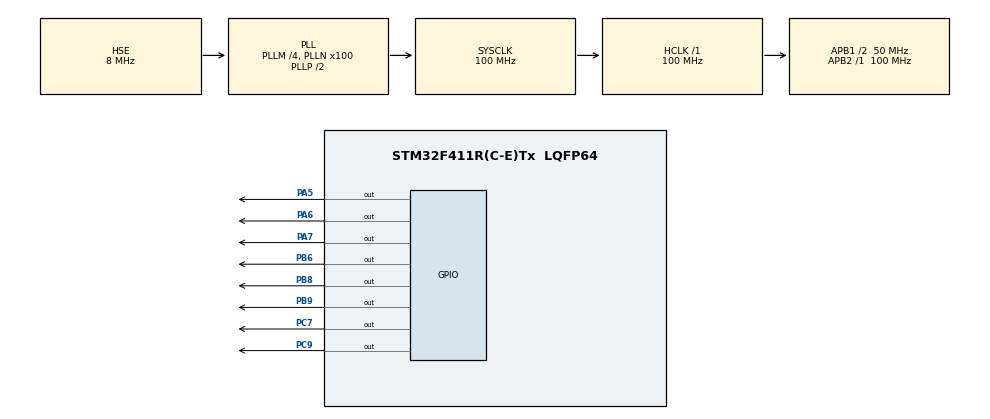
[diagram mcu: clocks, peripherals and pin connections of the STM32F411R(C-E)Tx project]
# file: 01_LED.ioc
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Mcu.Family=STM32F4
Mcu.Name=STM32F411R(C-E)Tx
Mcu.Package=LQFP64
NVIC.PriorityGroup=NVIC_PRIORITYGROUP_4
PA13.Mode=Serial_Wire
PA13.Signal=SYS_JTMS-SWDIO
PA14.Mode=Serial_Wire
PA14.Signal=SYS_JTCK-SWCLK
PA5.Signal=GPIO_Output
PA6.Signal=GPIO_Output
PA7.Signal=GPIO_Output
PB6.Signal=GPIO_Output
PB8.Signal=GPIO_Output
PB9.Signal=GPIO_Output
PC7.Signal=GPIO_Output
PC9.Signal=GPIO_Output
PH0\ -\ OSC_IN.Mode=HSE-External-Oscillator
PH0\ -\ OSC_IN.Signal=RCC_OSC_IN
PH1\ -\ OSC_OUT.Mode=HSE-External-Oscillator
PH1\ -\ OSC_OUT.Signal=RCC_OSC_OUT
ProjectManager.HeapSize=0x200
ProjectManager.StackSize=0x400
ProjectManager.TargetToolchain=STM32CubeIDE
RCC.48MHZClocksFreq_Value=50000000
RCC.AHBFreq_Value=100000000
RCC.APB1CLKDivider=RCC_HCLK_DIV2
RCC.APB1Freq_Value=50000000
RCC.APB1TimFreq_Value=100000000
RCC.APB2Freq_Value=100000000
RCC.APB2TimFreq_Value=100000000
RCC.CortexFreq_Value=100000000
RCC.HCLKFreq_Value=100000000
RCC.HSE_VALUE=8000000
RCC.HSI_VALUE=16000000
RCC.LSE_VALUE=32768
RCC.PLLM=4
RCC.PLLN=100
RCC.PLLSourceVirtual=RCC_PLLSOURCE_HSE
RCC.SYSCLKFreq_VALUE=100000000
RCC.SYSCLKSource=RCC_SYSCLKSOURCE_PLLCLK
RCC.VCOOutputFreq_Value=200000000
board=custom

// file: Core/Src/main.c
/* USER CODE BEGIN Header */
/**
  ******************************************************************************
  * @file           : main.c
  * @brief          : Main program body
  ******************************************************************************
  * @attention
  *
  * Copyright (c) 2025 STMicroelectronics.
  * All rights reserved.
  *
  * This software is licensed under terms that can be found in the LICENSE file
  * in the root directory of this software component.
  * If no LICENSE file comes with this software, it is provided AS-IS.
  *
  ******************************************************************************
  */
/* USER CODE END Header */
#include "main.h"
#include "gpio.h"

/* USER CODE BEGIN PTD */
typedef enum
{
  LED_OFF,  // 0
  LED_ON   // 1
}LED_STATE;

typedef struct
{
  GPIO_TypeDef *port;
  uint16_t      pinNumber;
  uint32_t      interval;
  LED_STATE     state;
  uint32_t      lastTick;
}LED_CONTROL;

void updateLed(LED_CONTROL *led)
{
  uint32_t currenTick = HAL_GetTick();    // 현재의 시간 (틱) 가져옴

  if(currenTick - led->lastTick >= led->interval)
  {
    led->lastTick = currenTick;

    if(led->state == LED_OFF)
    {
    HAL_GPIO_WritePin(led->port, led->pinNumber, 1);
    led->state = LED_ON;
    }
    else
    {
    HAL_GPIO_WritePin(led->port, led->pinNumber, 0);
    led->state = LED_OFF;
    }
  }
}

/* USER CODE END PTD */

void SystemClock_Config(void);

int main(void)
{

  /* MCU Configuration--------------------------------------------------------*/

  /* Reset of all peripherals, Initializes the Flash interface and the Systick. */
  HAL_Init();

  /* Configure the system clock */
  SystemClock_Config();

  /* Initialize all configured peripherals */
  MX_GPIO_Init();
  /* USER CODE BEGIN 2 */

  LED_CONTROL led1 = {GPIOC, GPIO_PIN_9, 200, LED_OFF, 0};
  LED_CONTROL led2 = {GPIOB, GPIO_PIN_8, 1000, LED_OFF, 0};
//  GPIO_TypeDef* ports[] = {GPIOA, GPIOA, GPIOA, GPIOC, GPIOC, GPIOB, GPIOB, GPIOB};
//  uint16_t pins[] = {GPIO_PIN_5, GPIO_PIN_6, GPIO_PIN_7, GPIO_PIN_7, GPIO_PIN_9, GPIO_PIN_6, GPIO_PIN_8, GPIO_PIN_9};
  /* USER CODE END 2 */

  /* Infinite loop */
  /* USER CODE BEGIN WHILE */
  while (1)
  {
    updateLed(&led1);
    updateLed(&led2);
//    HAL_GPIO_WritePin(GPIOA, GPIO_PIN_5, 1);
//    HAL_GPIO_WritePin(GPIOA, GPIO_PIN_6, 1);
//    HAL_GPIO_WritePin(GPIOA, GPIO_PIN_7, 1);
//    HAL_GPIO_WritePin(GPIOC, GPIO_PIN_7, 1);
//    HAL_GPIO_WritePin(GPIOC, GPIO_PIN_9, 1);
//    HAL_GPIO_WritePin(GPIOB, GPIO_PIN_6, 1);
//    HAL_GPIO_WritePin(GPIOB, GPIO_PIN_8, 1);
//    HAL_GPIO_WritePin(GPIOB, GPIO_PIN_9, 1);
//    HAL_Delay(300);
//
//    HAL_GPIO_WritePin(GPIOA, GPIO_PIN_5, GPIO_PIN_RESET);
//    HAL_GPIO_WritePin(GPIOA, GPIO_PIN_6, GPIO_PIN_RESET);
//    HAL_GPIO_WritePin(GPIOA, GPIO_PIN_7, GPIO_PIN_RESET);
//    HAL_GPIO_WritePin(GPIOC, GPIO_PIN_7, GPIO_PIN_RESET);
//    HAL_GPIO_WritePin(GPIOC, GPIO_PIN_9, GPIO_PIN_RESET);
//    HAL_GPIO_WritePin(GPIOB, GPIO_PIN_6, GPIO_PIN_RESET);
//    HAL_GPIO_WritePin(GPIOB, GPIO_PIN_8, GPIO_PIN_RESET);
//    HAL_GPIO_WritePin(GPIOB, GPIO_PIN_9, GPIO_PIN_RESET);
//    HAL_Delay(300);

    //LED ON
//    for (int i = 0; i < 8; i++) {
//      HAL_GPIO_WritePin(ports[i], pins[i], 1);
//      HAL_Delay(300);
//
//    }
//
//    //LED OFF
//    for (int i = 0; i < 8; i++) {
//      HAL_GPIO_WritePin(ports[i], pins[i], 0);
//      HAL_Delay(300);
//
//    }
    /* USER CODE END WHILE */

  }
}

void SystemClock_Config(void)
{
  RCC_OscInitTypeDef RCC_OscInitStruct = {0};
  RCC_ClkInitTypeDef RCC_ClkInitStruct = {0};

  /** Configure the main internal regulator output voltage
  */
  __HAL_RCC_PWR_CLK_ENABLE();
  __HAL_PWR_VOLTAGESCALING_CONFIG(PWR_REGULATOR_VOLTAGE_SCALE1);

  /** Initializes the RCC Oscillators according to the specified parameters
  * in the RCC_OscInitTypeDef structure.
  */
  RCC_OscInitStruct.OscillatorType = RCC_OSCILLATORTYPE_HSE;
  RCC_OscInitStruct.HSEState = RCC_HSE_ON;
  RCC_OscInitStruct.PLL.PLLState = RCC_PLL_ON;
  RCC_OscInitStruct.PLL.PLLSource = RCC_PLLSOURCE_HSE;
  RCC_OscInitStruct.PLL.PLLM = 4;
  RCC_OscInitStruct.PLL.PLLN = 100;
  RCC_OscInitStruct.PLL.PLLP = RCC_PLLP_DIV2;
  RCC_OscInitStruct.PLL.PLLQ = 4;
  if (HAL_RCC_OscConfig(&RCC_OscInitStruct) != HAL_OK)
  {
    Error_Handler();
  }

  /** Initializes the CPU, AHB and APB buses clocks
  */
  RCC_ClkInitStruct.ClockType = RCC_CLOCKTYPE_HCLK|RCC_CLOCKTYPE_SYSCLK
                              |RCC_CLOCKTYPE_PCLK1|RCC_CLOCKTYPE_PCLK2;
  RCC_ClkInitStruct.SYSCLKSource = RCC_SYSCLKSOURCE_PLLCLK;
  RCC_ClkInitStruct.AHBCLKDivider = RCC_SYSCLK_DIV1;
  RCC_ClkInitStruct.APB1CLKDivider = RCC_HCLK_DIV2;
  RCC_ClkInitStruct.APB2CLKDivider = RCC_HCLK_DIV1;

  if (HAL_RCC_ClockConfig(&RCC_ClkInitStruct, FLASH_LATENCY_3) != HAL_OK)
  {
    Error_Handler();
  }
}

void Error_Handler(void)
{
  __disable_irq();
  while (1)
  {
  }
}
